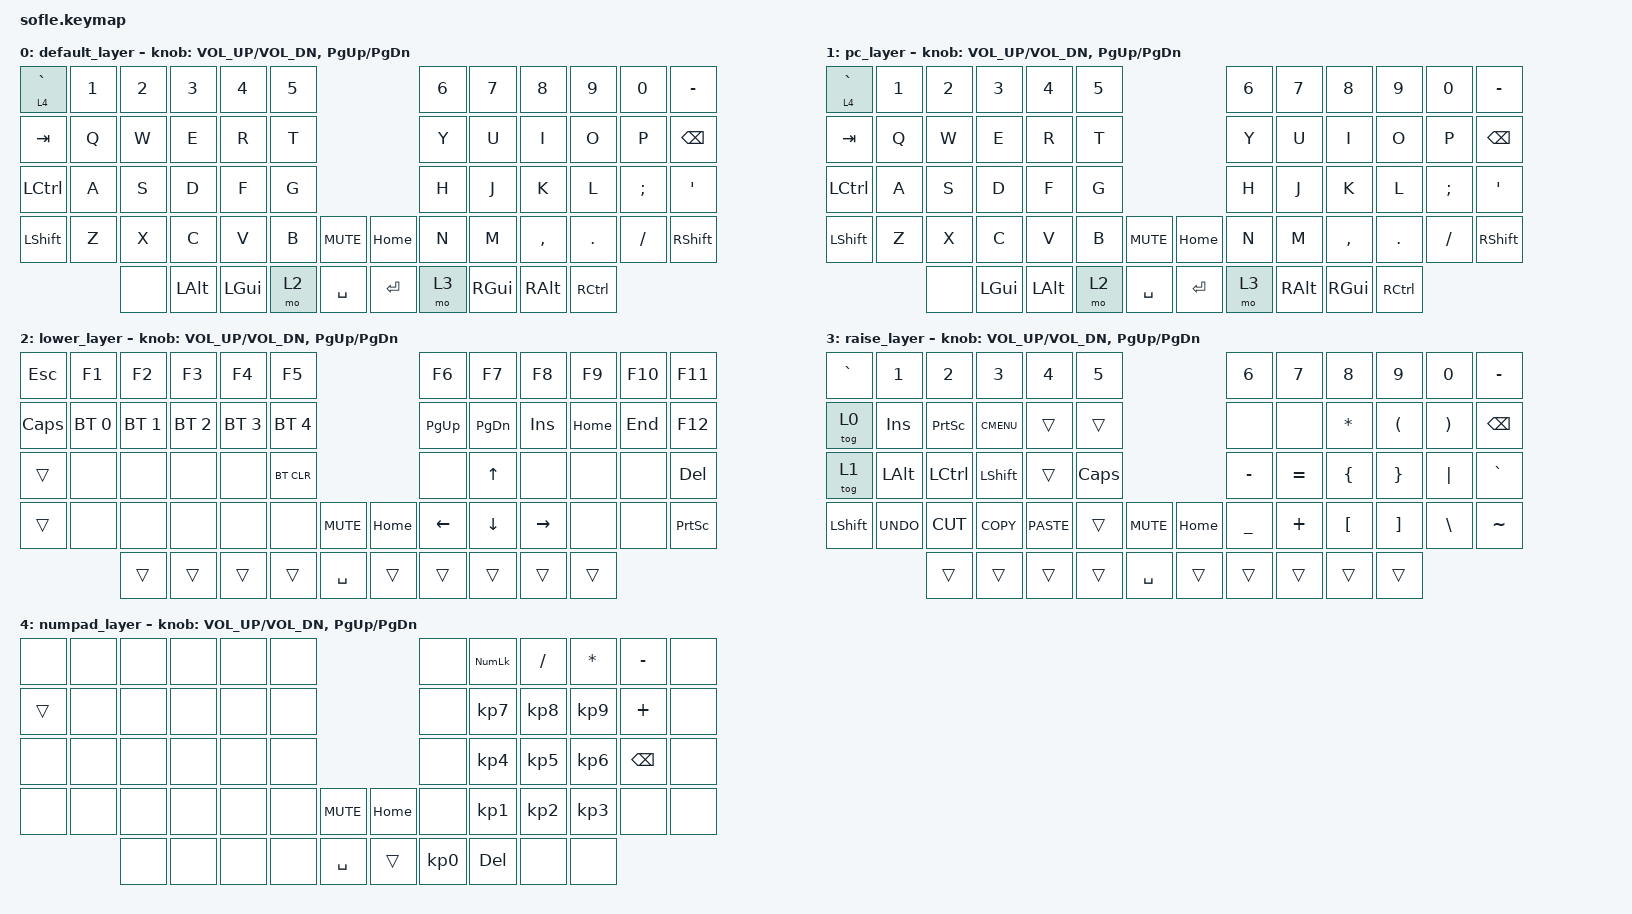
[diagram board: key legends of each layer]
/*
 * Copyright (c) 2020 The ZMK Contributors
 *
 * SPDX-License-Identifier: MIT
 */

#include <behaviors.dtsi>
#include "zmk-helpers/helper.h"
#include <dt-bindings/zmk/keys.h>
#include <dt-bindings/zmk/bt.h>

#define DEFAULT	0
#define PC	1
#define LOWER	2
#define RAISE	3
#define NUMPAD	4

/ {
    keymap {
        compatible = "zmk,keymap";

        default_layer {
//
/* QWERTY
 * ,-----------------------------------------.                       ,-----------------------------------------.
 * |  `   |   1  |   2  |   3  |   4  |   5  |                       |   6  |   7  |   8  |   9  |   0  |   -  |
 * |------+------+------+------+------+------|                       |------+------+------+------+------+------|
 * | TAB  |   Q  |   W  |   E  |   R  |   T  |                       |   Y  |   U  |   I  |   O  |   P  | Bspc |
 * |------+------+------+------+------+------|                       |------+------+------+------+------+------|
 * | LCTR |   A  |   S  |   D  |   F  |   G  |-------.       ,-------|   H  |   J  |   K  |   L  |   ;  |  '   |
 * |------+------+------+------+------+------| Vol/Mt|       |PgU/PgD|------+------+------+------+------+------|
 * |LShift|   Z  |   X  |   C  |   V  |   B  |-------|       |-------|   N  |   M  |   ,  |   .  |   /  |LShift|
 * `-----------------------------------------/       /        \      \-----------------------------------------'
 *            |      | ALT  |  MAC | LOWER| / Space /          \Enter \  |RAISE |  MAC | R-ALT | RCTR |
 *            |      |      |      |      |/       /            \      \ |      |      |      |      |
 *            `----------------------------------'               '------''---------------------------'
 */
            bindings = <
&lt 4 GRAVE &kp N1 &kp N2   &kp N3   &kp N4    &kp N5                         &kp N6     &kp N7    &kp N8    &kp N9   &kp N0   &kp MINUS
&kp TAB     &kp Q  &kp W    &kp E    &kp R     &kp T                          &kp Y      &kp U     &kp I     &kp O    &kp P    &kp BSPC
&kp LCTRL   &kp A  &kp S    &kp D    &kp F     &kp G                          &kp H      &kp J     &kp K     &kp L    &kp SEMI &kp SQT
&kp LSHFT   &kp Z  &kp X    &kp C    &kp V     &kp B  &kp C_MUTE    &kp HOME  &kp N      &kp M     &kp COMMA &kp DOT  &kp FSLH &kp RSHFT
                   &none    &kp LALT &kp LGUI  &mo 2  &kp SPACE     &kp RET   &mo 3      &kp RGUI  &kp RALT  &kp RCTRL
            >;

            sensor-bindings = <&inc_dec_kp C_VOL_UP C_VOL_DN &inc_dec_kp PG_UP PG_DN>;
        };

        pc_layer {
/* PC
 * ,-----------------------------------------.                       ,-----------------------------------------.
 * |  `   |   1  |   2  |   3  |   4  |   5  |                       |   6  |   7  |   8  |   9  |   0  |   -  |
 * |------+------+------+------+------+------|                       |------+------+------+------+------+------|
 * | TAB  |   Q  |   W  |   E  |   R  |   T  |                       |   Y  |   U  |   I  |   O  |   P  | Bspc |
 * |------+------+------+------+------+------|                       |------+------+------+------+------+------|
 * | LCTR |   A  |   S  |   D  |   F  |   G  |-------.       ,-------|   H  |   J  |   K  |   L  |   ;  |  '   |
 * |------+------+------+------+------+------| Vol/Mt|       |PgU/PgD|------+------+------+------+------+------|
 * |LShift|   Z  |   X  |   C  |   V  |   B  |-------|       |-------|   N  |   M  |   ,  |   .  |   /  |LShift|
 * `-----------------------------------------/       /        \      \-----------------------------------------'
 *            |      | WIN  |  ALT | LOWER| / Space /          \Enter \  |RAISE | R-ALT| WIN  | RCTR |
 *            |      |      |      |      |/       /            \      \ |      |      |      |      |
 *            `----------------------------------'               '------''---------------------------'
 */
            bindings = <
&lt 4 GRAVE &kp N1 &kp N2   &kp N3   &kp N4    &kp N5                         &kp N6   &kp N7    &kp N8    &kp N9   &kp N0   &kp MINUS
&kp TAB     &kp Q  &kp W    &kp E    &kp R     &kp T                          &kp Y    &kp U     &kp I     &kp O    &kp P    &kp BSPC
&kp LCTRL   &kp A  &kp S    &kp D    &kp F     &kp G                          &kp H    &kp J     &kp K     &kp L    &kp SEMI &kp SQT
&kp LSHFT   &kp Z  &kp X    &kp C    &kp V     &kp B  &kp C_MUTE    &kp HOME  &kp N    &kp M     &kp COMMA &kp DOT  &kp FSLH &kp RSHFT
                   &none    &kp LGUI &kp LALT  &mo 2  &kp SPACE     &kp RET   &mo 3    &kp RALT  &kp RGUI  &kp RCTRL
            >;

            sensor-bindings = <&inc_dec_kp C_VOL_UP C_VOL_DN &inc_dec_kp PG_UP PG_DN>;
        };		


        lower_layer {
// TODO: Some binds are waiting for shifted keycode support.
/* LOWER
 * ,-----------------------------------------.                       ,-----------------------------------------.
 * |  ESC |  F1  |  F2  |  F3  |  F4  |  F5  |                       |  F6  |  F7  |  F8  |  F9  | F10  | F11  |
 * |------+------+------+------+------+------|                       |------+------+------+------+------+------|
 * | CAPS |  BT0 |  BT1 |  BT2 |  BT3 |  BT4 |                       | PG_UP| PG_DN| INS  | HOME |  END | F12  |
 * |------+------+------+------+------+------|                       |------+------+------+------+------+------|
 * | trans|      |      |      |      |BT_CLR|-------.       ,-------|      |  UP  |      |      |      | Del  |
 * |------+------+------+------+------+------| Vol/Mt|       |PgU/PgD|------+------+------+------+------+------|
 * | trans|      |      |      |      |      |-------|       |-------| LEFT | DOWN |RIGHT |      |      |PrntSc|
 * `-----------------------------------------/       /        \      \-----------------------------------------'
 *            |      |  WIN |  ALT | LOWER| / Space /          \Enter \  |RAISE |      |      |      |
 *            |      |      |      |      |/       /            \      \ |      |      |      |      |
 *            `----------------------------------'               '------''---------------------------'
 */
            bindings = <
&kp ESC   &kp F1       &kp F2        &kp F3        &kp F4         &kp F5                               &kp F6     &kp F7     &kp F8      &kp F9    &kp F10     &kp F11
&kp CAPS  &bt BT_SEL 0 &bt BT_SEL 1  &bt BT_SEL 2  &bt BT_SEL 3   &bt BT_SEL 4                         &kp PG_UP  &kp PG_DN  &kp INS     &kp HOME  &kp END     &kp F12
&trans    &none        &none         &none         &none          &bt BT_CLR                           &none      &kp UP     &none       &none     &none       &kp DEL
&trans    &none        &none         &none         &none          &none       &kp C_MUTE     &kp HOME  &kp LEFT   &kp DOWN   &kp RIGHT   &none     &none       &kp PSCRN
                       &trans        &trans        &trans         &trans      &kp SPACE      &trans    &trans     &trans     &trans      &trans
            >;

            sensor-bindings = <&inc_dec_kp C_VOL_UP C_VOL_DN &inc_dec_kp PG_UP PG_DN>;
        };

        raise_layer {
/* RAISE
 * ,----------------------------------------.                        ,-----------------------------------------.
 * |   `  |   1  |   2  |   3  |   4  |   5  |                       |   6  |   7  |   8  |   9  |   0  |   -  |
 * |------+------+------+------+------+------|                       |------+------+------+------+------+------|
 * | Esc  | Ins  | Pscr | Menu |      |      |                       |      |      |   *  |   (  |   )  | Bspc |
 * |------+------+------+------+------+------|                       |------+------+------+------+------+------|
 * | Tab  | LAt  | LCtl |LShift|      | Caps |-------.       ,-------|   -  |   =  |   {  |   }  |   |  |   `  |
 * |------+------+------+------+------+------| Vol/Mt|       |PgU/PgD|------+------+------+------+------+------|
 * |Shift | Undo |  Cut | Copy | Paste|      |-------|       |-------|   _  |   +  |   [  |   ]  |   \  |   ~  |
 * `-----------------------------------------/       /        \      \-----------------------------------------'
 *            |      |  WIN |  ALT | LOWER| / Space /          \Enter \  |RAISE |      |      |      |
 *            |      |      |      |      |/       /            \      \ |      |      |      |      |
 *            `----------------------------------'               '------''---------------------------'	
 */
            bindings = <
&kp GRAVE  &kp N1      &kp N2       &kp N3       &kp N4       &kp N5                           &kp N6    &kp N7    &kp N8     &kp N9    &kp N0    &kp MINUS
&tog 0     &kp INS     &kp PSCRN    &kp K_CMENU  &trans       &trans                           &none     &none    &kp ASTRK  &kp LPAR  &kp RPAR  &kp BSPC
&tog 1     &kp LALT    &kp LCTRL    &kp LSHFT    &trans       &kp CLCK                         &kp MINUS &kp EQUAL &kp LBRC   &kp RBRC  &kp PIPE  &kp GRAVE
&kp LSHFT  &kp K_UNDO  &kp K_CUT    &kp K_COPY   &kp K_PASTE  &trans   &kp C_MUTE    &kp HOME  &kp UNDER &kp PLUS  &kp LBKT   &kp RBKT  &kp BSLH  &kp TILDE
                       &trans       &trans       &trans       &trans   &kp SPACE     &trans    &trans    &trans    &trans     &trans
            >;

            sensor-bindings = <&inc_dec_kp C_VOL_UP C_VOL_DN &inc_dec_kp PG_UP PG_DN>;
        };


        numpad_layer {
/* NUMPAD
 * ,----------------------------------------.                        ,-----------------------------------------.
 * |      |      |      |      |      |      |                       |      | NmLk |   /  |   *  |   -  |      |
 * |------+------+------+------+------+------|                       |------+------+------+------+------+------|
 * |      |      |      |      |      |      |                       |      |   7  |   8  |   9  |   +  |      |
 * |------+------+------+------+------+------|                       |------+------+------+------+------+------|
 * |      |      |      |      |      |      |-------.       ,-------|      |   4  |   5  |   6  | Bspc |      |
 * |------+------+------+------+------+------| Vol/Mt|       |PgU/PgD|------+------+------+------+------+------|
 * |      |      |      |      |      |      |-------|       |-------|      |   1  |   2  |   3  |      |      |
 * `-----------------------------------------/       /        \      \-----------------------------------------'
 *            |      |  WIN |  ALT | LOWER| / Space /          \Enter \  |   0  |  DEL |      |      |
 *            |      |      |      |      |/       /            \      \ |      |      |      |      |
 *            `----------------------------------'               '------''---------------------------'	
 */
            bindings = <
&none      &none       &none        &none        &none        &none                              &none      &kp KP_NUM &kp FSLH   &kp ASTRK  &kp MINUS &none
&trans     &none       &none        &none        &none        &none                              &none      &kp KP_N7  &kp KP_N8  &kp KP_N9  &kp PLUS  &none
&none      &none       &none        &none        &none        &none                              &none      &kp KP_N4  &kp KP_N5  &kp KP_N6  &kp BSPC  &none
&none      &none       &none        &none        &none        &none    &kp C_MUTE      &kp HOME  &none      &kp KP_N1  &kp KP_N2  &kp KP_N3  &none     &none
                       &none        &none        &none        &none    &kp SPACE      &trans    &kp KP_N0  &kp DEL    &none      &none
            >;

            sensor-bindings = <&inc_dec_kp C_VOL_UP C_VOL_DN &inc_dec_kp PG_UP PG_DN>;
        };
		
		
    };
};
